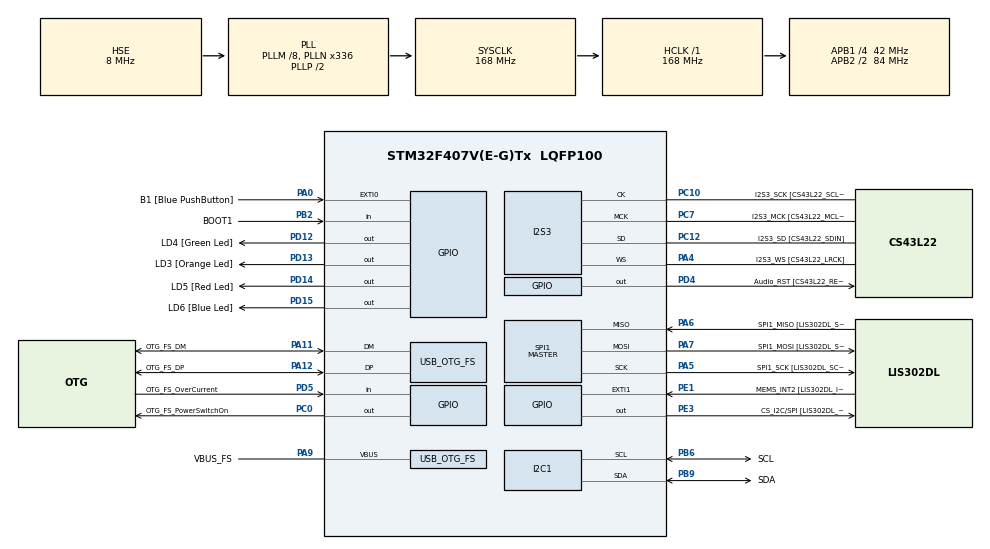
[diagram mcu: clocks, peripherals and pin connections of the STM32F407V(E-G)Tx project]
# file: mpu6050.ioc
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I2S3.AudioFreq-Half_Duplex_Master=I2S_AUDIOFREQ_96K
I2S3.ErrorAudioFreq=-2.34 %
I2S3.ErrorAudioFreq-Half_Duplex_Master=0.8 %
I2S3.FullDuplexMode=I2S_FULLDUPLEXMODE_DISABLE
I2S3.Instance=SPI$Index
I2S3.RealAudioFreq=93.75 KHz
I2S3.RealAudioFreq-Half_Duplex_Master=96.774 KHz
I2S3.VirtualMode=I2S_MODE_MASTER
Mcu.Family=STM32F4
Mcu.Name=STM32F407V(E-G)Tx
Mcu.Package=LQFP100
NVIC.OTG_FS_IRQn=true\:0\:0\:false\:false\:true\:true\:true\:true
NVIC.PriorityGroup=NVIC_PRIORITYGROUP_0
PA0-WKUP.GPIO_Label=B1 [Blue PushButton]
PA0-WKUP.GPIO_ModeDefaultEXTI=GPIO_MODE_EVT_RISING
PA0-WKUP.GPIO_PuPd=GPIO_NOPULL
PA0-WKUP.Signal=GPXTI0
PA10.GPIO_Label=OTG_FS_ID
PA10.GPIO_Mode=GPIO_MODE_AF_PP
PA10.GPIO_PuPd=GPIO_NOPULL
PA10.GPIO_Speed=GPIO_SPEED_FREQ_LOW
PA10.Signal=USB_OTG_FS_ID
PA11.GPIO_Label=OTG_FS_DM
PA11.GPIO_Mode=GPIO_MODE_AF_PP
PA11.GPIO_PuPd=GPIO_NOPULL
PA11.GPIO_Speed=GPIO_SPEED_FREQ_LOW
PA11.Mode=Host_Only
PA11.Signal=USB_OTG_FS_DM
PA12.GPIO_Label=OTG_FS_DP
PA12.GPIO_Mode=GPIO_MODE_AF_PP
PA12.GPIO_PuPd=GPIO_NOPULL
PA12.GPIO_Speed=GPIO_SPEED_FREQ_LOW
PA12.Mode=Host_Only
PA12.Signal=USB_OTG_FS_DP
PA13.GPIO_Label=SWDIO
PA13.Mode=Serial_Wire
PA13.Signal=SYS_JTMS-SWDIO
PA14.GPIO_Label=SWCLK
PA14.Mode=Serial_Wire
PA14.Signal=SYS_JTCK-SWCLK
PA4.GPIO_Label=I2S3_WS [CS43L22_LRCK]
PA4.GPIO_Mode=GPIO_MODE_AF_PP
PA4.GPIO_PuPd=GPIO_NOPULL
PA4.GPIO_Speed=GPIO_SPEED_FREQ_LOW
PA4.Mode=Half_Duplex_Master
PA4.Signal=I2S3_WS
PA5.GPIO_Label=SPI1_SCK [LIS302DL_SCL/SPC]
PA5.GPIO_Mode=GPIO_MODE_AF_PP
PA5.GPIO_PuPd=GPIO_NOPULL
PA5.GPIO_Speed=GPIO_SPEED_FREQ_LOW
PA5.Mode=Full_Duplex_Master
PA5.Signal=SPI1_SCK
PA6.GPIO_Label=SPI1_MISO [LIS302DL_SDO]
PA6.GPIO_Mode=GPIO_MODE_AF_PP
PA6.GPIO_PuPd=GPIO_NOPULL
PA6.GPIO_Speed=GPIO_SPEED_FREQ_LOW
PA6.Mode=Full_Duplex_Master
PA6.Signal=SPI1_MISO
PA7.GPIO_Label=SPI1_MOSI [LIS302DL_SDA/SDI/SDO]
PA7.GPIO_Mode=GPIO_MODE_AF_PP
PA7.GPIO_PuPd=GPIO_NOPULL
PA7.GPIO_Speed=GPIO_SPEED_FREQ_LOW
PA7.Mode=Full_Duplex_Master
PA7.Signal=SPI1_MOSI
PA9.GPIO_Label=VBUS_FS
PA9.GPIO_Mode=GPIO_MODE_INPUT
PA9.GPIO_PuPd=GPIO_NOPULL
PA9.Mode=Activate_VBUS
PA9.Signal=USB_OTG_FS_VBUS
PB10.GPIO_Label=CLK_IN [MP45DT02_CLK]
PB10.GPIO_Mode=GPIO_MODE_AF_PP
PB10.GPIO_PuPd=GPIO_NOPULL
PB10.GPIO_Speed=GPIO_SPEED_FREQ_LOW
PB10.Signal=I2S2_CK
PB2.GPIO_Label=BOOT1
PB2.GPIO_Mode=GPIO_MODE_INPUT
PB2.GPIO_PuPd=GPIO_NOPULL
PB2.Signal=GPIO_Input
PB3.GPIO_Label=SWO
PB3.Signal=SYS_JTDO-SWO
PB6.GPIO_Label=SCL
PB6.GPIO_Mode=GPIO_MODE_AF_OD
PB6.GPIO_Pu=GPIO_PULLUP
PB6.GPIO_PuPd=GPIO_NOPULL
PB6.GPIO_Speed=GPIO_SPEED_FREQ_LOW
PB6.Mode=I2C
PB6.Signal=I2C1_SCL
PB9.GPIO_Label=SDA
PB9.GPIO_Mode=GPIO_MODE_AF_OD
PB9.GPIO_Pu=GPIO_PULLUP
PB9.GPIO_PuPd=GPIO_NOPULL
PB9.GPIO_Speed=GPIO_SPEED_FREQ_LOW
PB9.Mode=I2C
PB9.Signal=I2C1_SDA
PC0.GPIO_Label=OTG_FS_PowerSwitchOn
PC0.GPIO_PuPd=GPIO_NOPULL
PC0.GPIO_Speed=GPIO_SPEED_FREQ_LOW
PC0.PinState=GPIO_PIN_SET
PC0.Signal=GPIO_Output
PC10.GPIO_Label=I2S3_SCK [CS43L22_SCLK]
PC10.GPIO_Mode=GPIO_MODE_AF_PP
PC10.GPIO_PuPd=GPIO_NOPULL
PC10.GPIO_Speed=GPIO_SPEED_FREQ_LOW
PC10.Mode=Half_Duplex_Master
PC10.Signal=I2S3_CK
PC12.GPIO_Label=I2S3_SD [CS43L22_SDIN]
PC12.GPIO_Mode=GPIO_MODE_AF_PP
PC12.GPIO_PuPd=GPIO_NOPULL
PC12.GPIO_Speed=GPIO_SPEED_FREQ_LOW
PC12.Mode=Half_Duplex_Master
PC12.Signal=I2S3_SD
PC14-OSC32_IN.GPIO_Label=PC14-OSC32_IN
PC14-OSC32_IN.Mode=LSE-External-Oscillator
PC14-OSC32_IN.Signal=RCC_OSC32_IN
PC15-OSC32_OUT.GPIO_Label=PC15-OSC32_OUT
PC15-OSC32_OUT.Mode=LSE-External-Oscillator
PC15-OSC32_OUT.Signal=RCC_OSC32_OUT
PC3.GPIO_Label=PDM_OUT [MP45DT02_DOUT]
PC3.GPIO_Mode=GPIO_MODE_AF_PP
PC3.GPIO_PuPd=GPIO_NOPULL
PC3.GPIO_Speed=GPIO_SPEED_FREQ_LOW
PC3.Signal=I2S2_SD
PC7.GPIO_Label=I2S3_MCK [CS43L22_MCLK]
PC7.GPIO_Mode=GPIO_MODE_AF_PP
PC7.GPIO_PuPd=GPIO_NOPULL
PC7.GPIO_Speed=GPIO_SPEED_FREQ_LOW
PC7.Mode=Master_Clock_Activated
PC7.Signal=I2S3_MCK
PD12.GPIO_Label=LD4 [Green Led]
PD12.GPIO_PuPd=GPIO_NOPULL
PD12.GPIO_Speed=GPIO_SPEED_FREQ_LOW
PD12.Signal=GPIO_Output
PD13.GPIO_Label=LD3 [Orange Led]
PD13.GPIO_PuPd=GPIO_NOPULL
PD13.GPIO_Speed=GPIO_SPEED_FREQ_LOW
PD13.Signal=GPIO_Output
PD14.GPIO_Label=LD5 [Red Led]
PD14.GPIO_PuPd=GPIO_NOPULL
PD14.GPIO_Speed=GPIO_SPEED_FREQ_LOW
PD14.Signal=GPIO_Output
PD15.GPIO_Label=LD6 [Blue Led]
PD15.GPIO_PuPd=GPIO_NOPULL
PD15.GPIO_Speed=GPIO_SPEED_FREQ_LOW
PD15.Signal=GPIO_Output
PD4.GPIO_Label=Audio_RST [CS43L22_RESET]
PD4.GPIO_PuPd=GPIO_NOPULL
PD4.GPIO_Speed=GPIO_SPEED_FREQ_LOW
PD4.Signal=GPIO_Output
PD5.GPIO_Label=OTG_FS_OverCurrent
PD5.GPIO_Mode=GPIO_MODE_INPUT
PD5.GPIO_PuPd=GPIO_NOPULL
PD5.Signal=GPIO_Input
PE1.GPIO_Label=MEMS_INT2 [LIS302DL_INT2]
PE1.GPIO_ModeDefaultEXTI=GPIO_MODE_EVT_RISING
PE1.GPIO_PuPd=GPIO_NOPULL
PE1.Signal=GPXTI1
PE3.GPIO_Label=CS_I2C/SPI [LIS302DL_CS_I2C/SPI]
PE3.GPIO_PuPd=GPIO_NOPULL
PE3.GPIO_Speed=GPIO_SPEED_FREQ_LOW
PE3.Signal=GPIO_Output
PH0-OSC_IN.GPIO_Label=PH0-OSC_IN
PH0-OSC_IN.Mode=HSE-External-Oscillator
PH0-OSC_IN.Signal=RCC_OSC_IN
PH1-OSC_OUT.GPIO_Label=PH1-OSC_OUT
PH1-OSC_OUT.Mode=HSE-External-Oscillator
PH1-OSC_OUT.Signal=RCC_OSC_OUT
ProjectManager.HeapSize=0x200
ProjectManager.StackSize=0x400
ProjectManager.TargetToolchain=STM32CubeIDE
RCC.48MHZClocksFreq_Value=48000000
RCC.AHBFreq_Value=168000000
RCC.APB1CLKDivider=RCC_HCLK_DIV4
RCC.APB1Freq_Value=42000000
RCC.APB1TimFreq_Value=84000000
RCC.APB2CLKDivider=RCC_HCLK_DIV2
RCC.APB2Freq_Value=84000000
RCC.APB2TimFreq_Value=168000000
RCC.CortexFreq_Value=168000000
RCC.HCLKFreq_Value=168000000
RCC.HSE_VALUE=8000000
RCC.HSI_VALUE=16000000
RCC.PLLM=8
RCC.PLLN=336
RCC.PLLQ=7
RCC.SYSCLKFreq_VALUE=168000000
RCC.SYSCLKSource=RCC_SYSCLKSOURCE_PLLCLK
RCC.VCOOutputFreq_Value=336000000
SPI1.BaudRatePrescaler-Full_Duplex_Master=SPI_BAUDRATEPRESCALER_2
SPI1.CalculateBaudRate-Full_Duplex_Master=42.0 MBits/s
SPI1.Direction=SPI_DIRECTION_2LINES
SPI1.Mode=SPI_MODE_MASTER
SPI1.Mode-Full_Duplex_Master=SPI_MODE_MASTER
SPI1.VirtualType=VM_MASTER
USB_HOST.BSP.number=1
USB_HOST.USBH_HandleTypeDef-CDC_FS=hUsbHostFS
USB_HOST.VirtualModeFS=Cdc
USB_HOST0.BSP.STBoard=false
USB_HOST0.BSP.api=Unknown
USB_HOST0.BSP.instance=PC0
USB_HOST0.BSP.ip=GPIO
USB_HOST0.BSP.mode=Output
USB_HOST0.BSP.name=Drive_VBUS_FS
USB_HOST0.BSP.solution=PC0
USB_OTG_FS.VirtualMode=Host_Only
USB_OTG_FS.phy_itface=HCD_PHY_EMBEDDED
VP_USB_HOST_VS_USB_HOST_CDC_FS.Mode=CDC_FS
board=STM32F407G-DISC1

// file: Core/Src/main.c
/* USER CODE BEGIN Header */
/**
  ******************************************************************************
  * @file           : main.c
  * @brief          : Main program body
  ******************************************************************************
  * @attention
  *
  * Copyright (c) 2024 STMicroelectronics.
  * All rights reserved.
  *
  * This software is licensed under terms that can be found in the LICENSE file
  * in the root directory of this software component.
  * If no LICENSE file comes with this software, it is provided AS-IS.
  *
  ******************************************************************************
  */
/* USER CODE END Header */
#include "main.h"
#include "usb_host.h"

I2C_HandleTypeDef hi2c1;

I2S_HandleTypeDef hi2s3;

SPI_HandleTypeDef hspi1;

void SystemClock_Config(void);
static void MX_GPIO_Init(void);
static void MX_I2C1_Init(void);
static void MX_I2S3_Init(void);
static void MX_SPI1_Init(void);
void MX_USB_HOST_Process(void);

int main(void)
{

  /* MCU Configuration--------------------------------------------------------*/

  /* Reset of all peripherals, Initializes the Flash interface and the Systick. */
  HAL_Init();

  /* Configure the system clock */
  SystemClock_Config();

  /* Initialize all configured peripherals */
  MX_GPIO_Init();
  MX_I2C1_Init();
  MX_I2S3_Init();
  MX_SPI1_Init();
  MX_USB_HOST_Init();
  /* USER CODE BEGIN 2 */
HAL_StatusTypeDef ret = HAL_I2C_IsDeviceReady(&hi2c1,0b11010000, 1, 100);
if(ret==HAL_OK){
	printf("MPU6050'den Merhaba\n");
}
else{
	printf("Cihazi ya da kablolari kontrol edin\n");
}
uint8_t temp_data = 0b00001000;
ret = HAL_I2C_Mem_Write(&hi2c1, 0b11010001, 27, 1, &temp_data, 1, 100);
if(ret==HAL_OK){
	printf("27.Registera cihaz başarıyla yazıldı ve konfigüre oldu.\n");
}
else{
	printf("Registera basariyla yazilamadi.\n");
}
  /* USER CODE END 2 */

  /* Infinite loop */
  while (1)
  {
    MX_USB_HOST_Process();

    /* USER CODE BEGIN 3 */
    //printf("MPU6050\n");
    // HAL_Delay(1000);

  }
  /* USER CODE END 3 */
}

void SystemClock_Config(void)
{
  RCC_OscInitTypeDef RCC_OscInitStruct = {0};
  RCC_ClkInitTypeDef RCC_ClkInitStruct = {0};

  /** Configure the main internal regulator output voltage
  */
  __HAL_RCC_PWR_CLK_ENABLE();
  __HAL_PWR_VOLTAGESCALING_CONFIG(PWR_REGULATOR_VOLTAGE_SCALE1);

  /** Initializes the RCC Oscillators according to the specified parameters
  * in the RCC_OscInitTypeDef structure.
  */
  RCC_OscInitStruct.OscillatorType = RCC_OSCILLATORTYPE_HSE;
  RCC_OscInitStruct.HSEState = RCC_HSE_ON;
  RCC_OscInitStruct.PLL.PLLState = RCC_PLL_ON;
  RCC_OscInitStruct.PLL.PLLSource = RCC_PLLSOURCE_HSE;
  RCC_OscInitStruct.PLL.PLLM = 8;
  RCC_OscInitStruct.PLL.PLLN = 336;
  RCC_OscInitStruct.PLL.PLLP = RCC_PLLP_DIV2;
  RCC_OscInitStruct.PLL.PLLQ = 7;
  if (HAL_RCC_OscConfig(&RCC_OscInitStruct) != HAL_OK)
  {
    Error_Handler();
  }

  /** Initializes the CPU, AHB and APB buses clocks
  */
  RCC_ClkInitStruct.ClockType = RCC_CLOCKTYPE_HCLK|RCC_CLOCKTYPE_SYSCLK
                              |RCC_CLOCKTYPE_PCLK1|RCC_CLOCKTYPE_PCLK2;
  RCC_ClkInitStruct.SYSCLKSource = RCC_SYSCLKSOURCE_PLLCLK;
  RCC_ClkInitStruct.AHBCLKDivider = RCC_SYSCLK_DIV1;
  RCC_ClkInitStruct.APB1CLKDivider = RCC_HCLK_DIV4;
  RCC_ClkInitStruct.APB2CLKDivider = RCC_HCLK_DIV2;

  if (HAL_RCC_ClockConfig(&RCC_ClkInitStruct, FLASH_LATENCY_5) != HAL_OK)
  {
    Error_Handler();
  }
}

static void MX_I2C1_Init(void)
{

  hi2c1.Instance = I2C1;
  hi2c1.Init.ClockSpeed = 100000;
  hi2c1.Init.DutyCycle = I2C_DUTYCYCLE_2;
  hi2c1.Init.OwnAddress1 = 0;
  hi2c1.Init.AddressingMode = I2C_ADDRESSINGMODE_7BIT;
  hi2c1.Init.DualAddressMode = I2C_DUALADDRESS_DISABLE;
  hi2c1.Init.OwnAddress2 = 0;
  hi2c1.Init.GeneralCallMode = I2C_GENERALCALL_DISABLE;
  hi2c1.Init.NoStretchMode = I2C_NOSTRETCH_DISABLE;
  if (HAL_I2C_Init(&hi2c1) != HAL_OK)
  {
    Error_Handler();
  }

}

static void MX_I2S3_Init(void)
{

  hi2s3.Instance = SPI3;
  hi2s3.Init.Mode = I2S_MODE_MASTER_TX;
  hi2s3.Init.Standard = I2S_STANDARD_PHILIPS;
  hi2s3.Init.DataFormat = I2S_DATAFORMAT_16B;
  hi2s3.Init.MCLKOutput = I2S_MCLKOUTPUT_ENABLE;
  hi2s3.Init.AudioFreq = I2S_AUDIOFREQ_96K;
  hi2s3.Init.CPOL = I2S_CPOL_LOW;
  hi2s3.Init.ClockSource = I2S_CLOCK_PLL;
  hi2s3.Init.FullDuplexMode = I2S_FULLDUPLEXMODE_DISABLE;
  if (HAL_I2S_Init(&hi2s3) != HAL_OK)
  {
    Error_Handler();
  }

}

static void MX_SPI1_Init(void)
{

  /* SPI1 parameter configuration*/
  hspi1.Instance = SPI1;
  hspi1.Init.Mode = SPI_MODE_MASTER;
  hspi1.Init.Direction = SPI_DIRECTION_2LINES;
  hspi1.Init.DataSize = SPI_DATASIZE_8BIT;
  hspi1.Init.CLKPolarity = SPI_POLARITY_LOW;
  hspi1.Init.CLKPhase = SPI_PHASE_1EDGE;
  hspi1.Init.NSS = SPI_NSS_SOFT;
  hspi1.Init.BaudRatePrescaler = SPI_BAUDRATEPRESCALER_2;
  hspi1.Init.FirstBit = SPI_FIRSTBIT_MSB;
  hspi1.Init.TIMode = SPI_TIMODE_DISABLE;
  hspi1.Init.CRCCalculation = SPI_CRCCALCULATION_DISABLE;
  hspi1.Init.CRCPolynomial = 10;
  if (HAL_SPI_Init(&hspi1) != HAL_OK)
  {
    Error_Handler();
  }

}

static void MX_GPIO_Init(void)
{
  GPIO_InitTypeDef GPIO_InitStruct = {0};

  /* GPIO Ports Clock Enable */
  __HAL_RCC_GPIOE_CLK_ENABLE();
  __HAL_RCC_GPIOC_CLK_ENABLE();
  __HAL_RCC_GPIOH_CLK_ENABLE();
  __HAL_RCC_GPIOA_CLK_ENABLE();
  __HAL_RCC_GPIOB_CLK_ENABLE();
  __HAL_RCC_GPIOD_CLK_ENABLE();

  /*Configure GPIO pin Output Level */
  HAL_GPIO_WritePin(CS_I2C_SPI_GPIO_Port, CS_I2C_SPI_Pin, GPIO_PIN_RESET);

  /*Configure GPIO pin Output Level */
  HAL_GPIO_WritePin(OTG_FS_PowerSwitchOn_GPIO_Port, OTG_FS_PowerSwitchOn_Pin, GPIO_PIN_SET);

  /*Configure GPIO pin Output Level */
  HAL_GPIO_WritePin(GPIOD, LD4_Pin|LD3_Pin|LD5_Pin|LD6_Pin
                          |Audio_RST_Pin, GPIO_PIN_RESET);

  /*Configure GPIO pin : CS_I2C_SPI_Pin */
  GPIO_InitStruct.Pin = CS_I2C_SPI_Pin;
  GPIO_InitStruct.Mode = GPIO_MODE_OUTPUT_PP;
  GPIO_InitStruct.Pull = GPIO_NOPULL;
  GPIO_InitStruct.Speed = GPIO_SPEED_FREQ_LOW;
  HAL_GPIO_Init(CS_I2C_SPI_GPIO_Port, &GPIO_InitStruct);

  /*Configure GPIO pin : OTG_FS_PowerSwitchOn_Pin */
  GPIO_InitStruct.Pin = OTG_FS_PowerSwitchOn_Pin;
  GPIO_InitStruct.Mode = GPIO_MODE_OUTPUT_PP;
  GPIO_InitStruct.Pull = GPIO_NOPULL;
  GPIO_InitStruct.Speed = GPIO_SPEED_FREQ_LOW;
  HAL_GPIO_Init(OTG_FS_PowerSwitchOn_GPIO_Port, &GPIO_InitStruct);

  /*Configure GPIO pin : PDM_OUT_Pin */
  GPIO_InitStruct.Pin = PDM_OUT_Pin;
  GPIO_InitStruct.Mode = GPIO_MODE_AF_PP;
  GPIO_InitStruct.Pull = GPIO_NOPULL;
  GPIO_InitStruct.Speed = GPIO_SPEED_FREQ_LOW;
  GPIO_InitStruct.Alternate = GPIO_AF5_SPI2;
  HAL_GPIO_Init(PDM_OUT_GPIO_Port, &GPIO_InitStruct);

  /*Configure GPIO pin : B1_Pin */
  GPIO_InitStruct.Pin = B1_Pin;
  GPIO_InitStruct.Mode = GPIO_MODE_EVT_RISING;
  GPIO_InitStruct.Pull = GPIO_NOPULL;
  HAL_GPIO_Init(B1_GPIO_Port, &GPIO_InitStruct);

  /*Configure GPIO pin : BOOT1_Pin */
  GPIO_InitStruct.Pin = BOOT1_Pin;
  GPIO_InitStruct.Mode = GPIO_MODE_INPUT;
  GPIO_InitStruct.Pull = GPIO_NOPULL;
  HAL_GPIO_Init(BOOT1_GPIO_Port, &GPIO_InitStruct);

  /*Configure GPIO pin : CLK_IN_Pin */
  GPIO_InitStruct.Pin = CLK_IN_Pin;
  GPIO_InitStruct.Mode = GPIO_MODE_AF_PP;
  GPIO_InitStruct.Pull = GPIO_NOPULL;
  GPIO_InitStruct.Speed = GPIO_SPEED_FREQ_LOW;
  GPIO_InitStruct.Alternate = GPIO_AF5_SPI2;
  HAL_GPIO_Init(CLK_IN_GPIO_Port, &GPIO_InitStruct);

  /*Configure GPIO pins : LD4_Pin LD3_Pin LD5_Pin LD6_Pin
                           Audio_RST_Pin */
  GPIO_InitStruct.Pin = LD4_Pin|LD3_Pin|LD5_Pin|LD6_Pin
                          |Audio_RST_Pin;
  GPIO_InitStruct.Mode = GPIO_MODE_OUTPUT_PP;
  GPIO_InitStruct.Pull = GPIO_NOPULL;
  GPIO_InitStruct.Speed = GPIO_SPEED_FREQ_LOW;
  HAL_GPIO_Init(GPIOD, &GPIO_InitStruct);

  /*Configure GPIO pin : OTG_FS_OverCurrent_Pin */
  GPIO_InitStruct.Pin = OTG_FS_OverCurrent_Pin;
  GPIO_InitStruct.Mode = GPIO_MODE_INPUT;
  GPIO_InitStruct.Pull = GPIO_NOPULL;
  HAL_GPIO_Init(OTG_FS_OverCurrent_GPIO_Port, &GPIO_InitStruct);

  /*Configure GPIO pin : MEMS_INT2_Pin */
  GPIO_InitStruct.Pin = MEMS_INT2_Pin;
  GPIO_InitStruct.Mode = GPIO_MODE_EVT_RISING;
  GPIO_InitStruct.Pull = GPIO_NOPULL;
  HAL_GPIO_Init(MEMS_INT2_GPIO_Port, &GPIO_InitStruct);

}

/* USER CODE BEGIN 4 */
int _write(int file, char *ptr, int len)
{
 (void)file;
 int DataIdx;

 for (DataIdx = 0; DataIdx < len; DataIdx++)
 {
   ITM_SendChar(*ptr++);
 }
 return len;
}

/* USER CODE END 4 */

void Error_Handler(void)
{
  __disable_irq();
  while (1)
  {
  }
}
